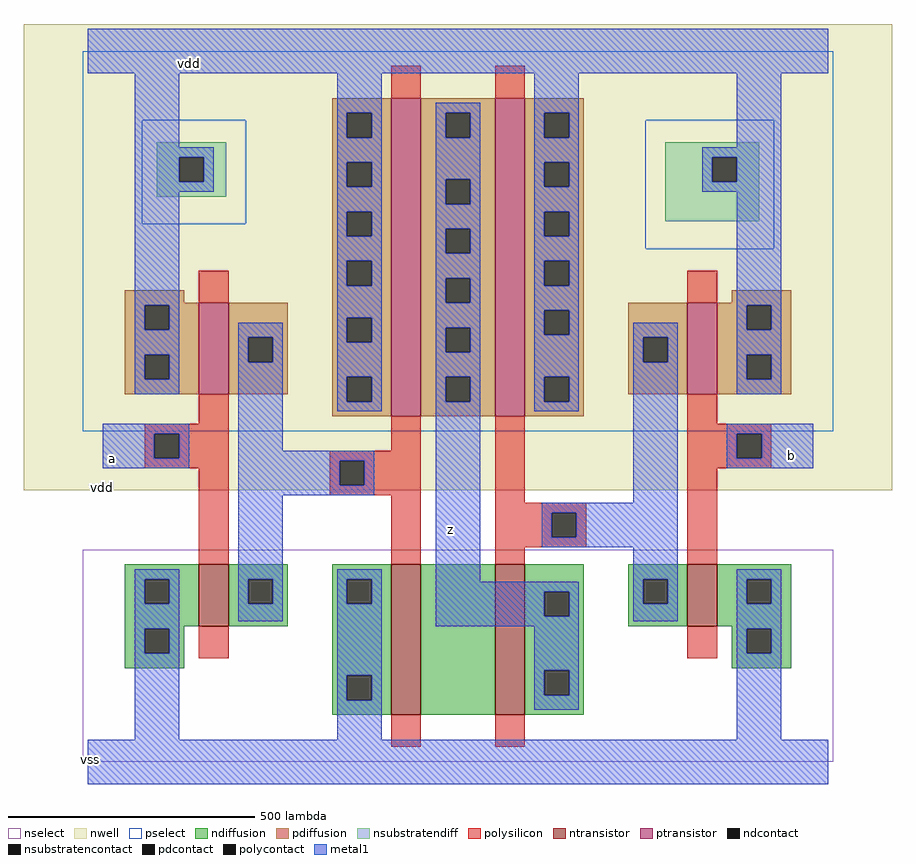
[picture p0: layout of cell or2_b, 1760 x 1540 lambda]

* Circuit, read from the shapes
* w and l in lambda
.subckt or2_b z a b vdd vss
M1 n1 a vss VSUBS nfet w=125 l=60
M2 n2 n1 vss VSUBS nfet w=305 l=60
M3 z n3 n2 VSUBS nfet w=305 l=60
M4 vss b n3 VSUBS nfet w=125 l=60
M5 n1 a vdd vdd pfet w=185 l=60
M6 z n1 vdd vdd pfet w=645 l=60
M7 vdd n3 z vdd pfet w=645 l=60
M8 vdd b n3 vdd pfet w=185 l=60
.ends

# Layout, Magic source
magic
tech amic5n
<< nwell >>
rect -130 550 1630 1495
<< ntransistor >>
rect 225 275 285 400
rect 615 95 675 400
rect 825 95 885 400
rect 1215 275 1275 400
<< ptransistor >>
rect 225 745 285 930
rect 615 700 675 1345
rect 825 700 885 1345
rect 1215 745 1275 930
<< nselect >>
rect 110 1090 320 1300
rect 1130 1040 1390 1300
rect -10 0 1510 430
<< pselect >>
rect -10 1300 1510 1440
rect -10 1090 110 1300
rect 320 1090 1130 1300
rect -10 1040 1130 1090
rect 1390 1040 1510 1300
rect -10 670 1510 1040
<< ndiffusion >>
rect 75 370 225 400
rect 75 320 115 370
rect 165 320 225 370
rect 75 275 225 320
rect 285 370 405 400
rect 285 320 325 370
rect 375 320 405 370
rect 285 275 405 320
rect 495 370 615 400
rect 495 320 525 370
rect 575 320 615 370
rect 75 270 195 275
rect 75 220 115 270
rect 165 220 195 270
rect 75 190 195 220
rect 495 175 615 320
rect 495 125 525 175
rect 575 125 615 175
rect 495 95 615 125
rect 675 95 825 400
rect 885 345 1005 400
rect 885 295 925 345
rect 975 295 1005 345
rect 885 185 1005 295
rect 1095 370 1215 400
rect 1095 320 1125 370
rect 1175 320 1215 370
rect 1095 275 1215 320
rect 1275 370 1425 400
rect 1275 320 1335 370
rect 1385 320 1425 370
rect 1275 275 1425 320
rect 1305 270 1425 275
rect 1305 220 1335 270
rect 1385 220 1425 270
rect 1305 190 1425 220
rect 885 135 925 185
rect 975 135 1005 185
rect 885 95 1005 135
<< pdiffusion >>
rect 495 1315 615 1345
rect 495 1265 525 1315
rect 575 1265 615 1315
rect 495 1215 615 1265
rect 495 1165 525 1215
rect 575 1165 615 1215
rect 495 1115 615 1165
rect 495 1065 525 1115
rect 575 1065 615 1115
rect 495 1015 615 1065
rect 75 930 195 955
rect 495 965 525 1015
rect 575 965 615 1015
rect 75 925 225 930
rect 75 875 115 925
rect 165 875 225 925
rect 75 825 225 875
rect 75 775 115 825
rect 165 775 225 825
rect 75 745 225 775
rect 285 860 405 930
rect 285 810 325 860
rect 375 810 405 860
rect 285 745 405 810
rect 495 900 615 965
rect 495 850 525 900
rect 575 850 615 900
rect 495 780 615 850
rect 495 730 525 780
rect 575 730 615 780
rect 495 700 615 730
rect 675 1315 825 1345
rect 675 1265 725 1315
rect 775 1265 825 1315
rect 675 1180 825 1265
rect 675 1130 725 1180
rect 775 1130 825 1180
rect 675 1080 825 1130
rect 675 1030 725 1080
rect 775 1030 825 1080
rect 675 980 825 1030
rect 675 930 725 980
rect 775 930 825 980
rect 675 880 825 930
rect 675 830 725 880
rect 775 830 825 880
rect 675 780 825 830
rect 675 730 725 780
rect 775 730 825 780
rect 675 700 825 730
rect 885 1315 1005 1345
rect 885 1265 925 1315
rect 975 1265 1005 1315
rect 885 1215 1005 1265
rect 885 1165 925 1215
rect 975 1165 1005 1215
rect 885 1115 1005 1165
rect 885 1065 925 1115
rect 975 1065 1005 1115
rect 885 1015 1005 1065
rect 885 965 925 1015
rect 975 965 1005 1015
rect 885 915 1005 965
rect 1305 930 1425 955
rect 885 865 925 915
rect 975 865 1005 915
rect 885 780 1005 865
rect 885 730 925 780
rect 975 730 1005 780
rect 1095 860 1215 930
rect 1095 810 1125 860
rect 1175 810 1215 860
rect 1095 745 1215 810
rect 1275 925 1425 930
rect 1275 875 1335 925
rect 1385 875 1425 925
rect 1275 825 1425 875
rect 1275 775 1335 825
rect 1385 775 1425 825
rect 1275 745 1425 775
rect 885 700 1005 730
<< nsubstratendiff >>
rect 140 1225 280 1255
rect 140 1175 185 1225
rect 235 1175 280 1225
rect 140 1145 280 1175
rect 1170 1225 1360 1255
rect 1170 1175 1265 1225
rect 1315 1175 1360 1225
rect 1170 1095 1360 1175
<< nsubstratencontact >>
rect 185 1175 235 1225
rect 1265 1175 1315 1225
<< ndcontact >>
rect 115 320 165 370
rect 325 320 375 370
rect 525 320 575 370
rect 115 220 165 270
rect 525 125 575 175
rect 925 295 975 345
rect 1125 320 1175 370
rect 1335 320 1385 370
rect 1335 220 1385 270
rect 925 135 975 185
<< pdcontact >>
rect 525 1265 575 1315
rect 525 1165 575 1215
rect 525 1065 575 1115
rect 525 965 575 1015
rect 115 875 165 925
rect 115 775 165 825
rect 325 810 375 860
rect 525 850 575 900
rect 525 730 575 780
rect 725 1265 775 1315
rect 725 1130 775 1180
rect 725 1030 775 1080
rect 725 930 775 980
rect 725 830 775 880
rect 725 730 775 780
rect 925 1265 975 1315
rect 925 1165 975 1215
rect 925 1065 975 1115
rect 925 965 975 1015
rect 925 865 975 915
rect 925 730 975 780
rect 1125 810 1175 860
rect 1335 875 1385 925
rect 1335 775 1385 825
<< polysilicon >>
rect 615 1345 675 1410
rect 825 1345 885 1410
rect 225 930 285 995
rect 225 685 285 745
rect 1215 930 1275 995
rect 115 665 285 685
rect 115 615 135 665
rect 185 615 285 665
rect 615 630 675 700
rect 115 595 285 615
rect 225 400 285 595
rect 490 610 675 630
rect 490 560 510 610
rect 560 560 675 610
rect 490 540 675 560
rect 615 400 675 540
rect 825 525 885 700
rect 1215 685 1275 745
rect 1215 665 1385 685
rect 1215 615 1315 665
rect 1365 615 1385 665
rect 1215 595 1385 615
rect 825 505 1010 525
rect 825 455 940 505
rect 990 455 1010 505
rect 825 435 1010 455
rect 825 400 885 435
rect 1215 400 1275 595
rect 225 210 285 275
rect 1215 210 1275 275
rect 615 30 675 95
rect 825 30 885 95
<< polycontact >>
rect 135 615 185 665
rect 510 560 560 610
rect 1315 615 1365 665
rect 940 455 990 505
<< metal1 >>
rect 0 1395 1500 1485
rect 95 1245 185 1395
rect 505 1315 595 1395
rect 505 1265 525 1315
rect 575 1265 595 1315
rect 95 1225 255 1245
rect 95 1175 185 1225
rect 235 1175 255 1225
rect 95 1155 255 1175
rect 505 1215 595 1265
rect 505 1165 525 1215
rect 575 1165 595 1215
rect 95 925 185 1155
rect 95 875 115 925
rect 165 875 185 925
rect 505 1115 595 1165
rect 505 1065 525 1115
rect 575 1065 595 1115
rect 505 1015 595 1065
rect 505 965 525 1015
rect 575 965 595 1015
rect 505 900 595 965
rect 95 825 185 875
rect 95 775 115 825
rect 165 775 185 825
rect 95 745 185 775
rect 305 860 395 890
rect 305 810 325 860
rect 375 810 395 860
rect 30 665 205 685
rect 30 615 135 665
rect 185 615 205 665
rect 30 595 205 615
rect 305 630 395 810
rect 505 850 525 900
rect 575 850 595 900
rect 505 780 595 850
rect 505 730 525 780
rect 575 730 595 780
rect 505 710 595 730
rect 705 1315 795 1335
rect 705 1265 725 1315
rect 775 1265 795 1315
rect 705 1180 795 1265
rect 705 1130 725 1180
rect 775 1130 795 1180
rect 705 1080 795 1130
rect 705 1030 725 1080
rect 775 1030 795 1080
rect 705 980 795 1030
rect 705 930 725 980
rect 775 930 795 980
rect 705 880 795 930
rect 705 830 725 880
rect 775 830 795 880
rect 705 780 795 830
rect 705 730 725 780
rect 775 730 795 780
rect 305 610 580 630
rect 305 560 510 610
rect 560 560 580 610
rect 305 540 580 560
rect 95 370 185 390
rect 95 320 115 370
rect 165 320 185 370
rect 95 270 185 320
rect 305 370 395 540
rect 305 320 325 370
rect 375 320 395 370
rect 305 285 395 320
rect 505 370 595 390
rect 505 320 525 370
rect 575 320 595 370
rect 95 220 115 270
rect 165 220 185 270
rect 95 45 185 220
rect 505 175 595 320
rect 705 365 795 730
rect 905 1315 995 1395
rect 905 1265 925 1315
rect 975 1265 995 1315
rect 905 1215 995 1265
rect 1315 1245 1405 1395
rect 905 1165 925 1215
rect 975 1165 995 1215
rect 905 1115 995 1165
rect 1245 1225 1405 1245
rect 1245 1175 1265 1225
rect 1315 1175 1405 1225
rect 1245 1155 1405 1175
rect 905 1065 925 1115
rect 975 1065 995 1115
rect 905 1015 995 1065
rect 905 965 925 1015
rect 975 965 995 1015
rect 905 915 995 965
rect 905 865 925 915
rect 975 865 995 915
rect 1315 925 1405 1155
rect 905 780 995 865
rect 905 730 925 780
rect 975 730 995 780
rect 905 710 995 730
rect 1105 860 1195 890
rect 1105 810 1125 860
rect 1175 810 1195 860
rect 1105 525 1195 810
rect 1315 875 1335 925
rect 1385 875 1405 925
rect 1315 825 1405 875
rect 1315 775 1335 825
rect 1385 775 1405 825
rect 1315 745 1405 775
rect 1295 665 1470 685
rect 1295 615 1315 665
rect 1365 615 1470 665
rect 1295 595 1470 615
rect 920 505 1195 525
rect 920 455 940 505
rect 990 455 1195 505
rect 920 435 1195 455
rect 1105 370 1195 435
rect 705 345 995 365
rect 705 295 925 345
rect 975 295 995 345
rect 705 275 995 295
rect 1105 320 1125 370
rect 1175 320 1195 370
rect 1105 285 1195 320
rect 1315 370 1405 390
rect 1315 320 1335 370
rect 1385 320 1405 370
rect 505 125 525 175
rect 575 125 595 175
rect 505 45 595 125
rect 905 185 995 275
rect 905 135 925 185
rect 975 135 995 185
rect 905 105 995 135
rect 1315 270 1405 320
rect 1315 220 1335 270
rect 1385 220 1405 270
rect 1315 45 1405 220
rect 0 -45 1500 45
<< labels >>
flabel metal1 s 735 470 735 470 2 FreeSans 400 0 0 0 z
port 0 ne
flabel metal1 s 50 615 50 615 2 FreeSans 400 0 0 0 a
port 1 ne
flabel metal1 s 1426 620 1426 620 2 FreeSans 400 0 0 0 b
port 2 ne
flabel metal1 s 206 1415 206 1415 2 FreeSans 400 0 0 0 vdd
port 3 ne
flabel metal1 s 6 5 6 5 2 FreeSans 400 0 0 0 vss
port 4 ne
flabel nwell 30 555 30 555 2 FreeSans 400 0 0 0 vdd
<< properties >>
string FIXED_BBOX 0 0 1500 1440
string LEFclass CORE
string LEFsite core
string LEFsymmetry X Y
<< end >>
